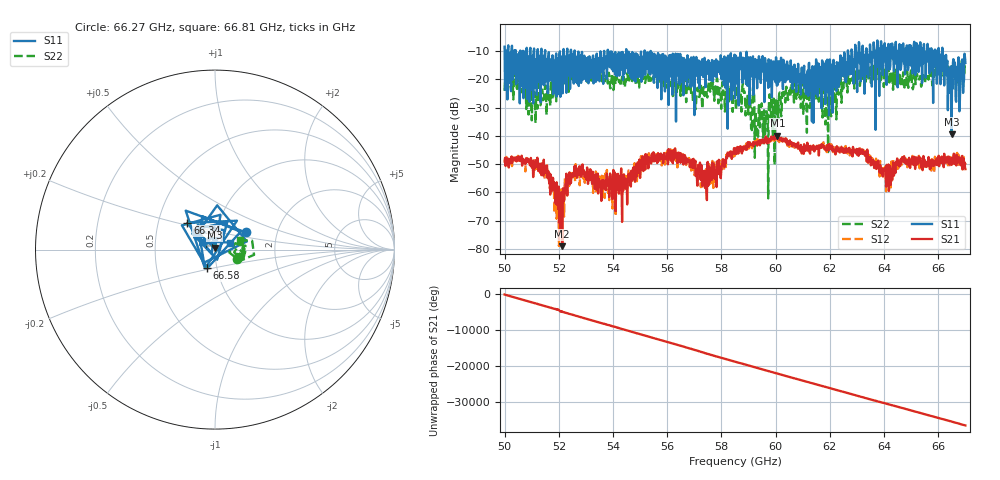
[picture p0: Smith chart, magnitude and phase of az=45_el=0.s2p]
!Created with skrf (http://scikit-rf.org).
# GHz S RI R 50.0
!freq ReS11 ImS11 ReS21 ImS21 ReS12 ImS12 ReS22 ImS22
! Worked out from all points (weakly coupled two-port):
!   1001 points, 50 GHz to 67 GHz, reference 50 ohm
!   highest |S21| = -39.87 dB at 60.06 GHz (marker M1); lowest = -79.1 dB at 52.12 GHz (marker M2)
!   lowest |S11| = -39.4 dB at 66.49 GHz (marker M3), VSWR 1.02, Z = 49.9 + j1.06 ohm
!   |S11| at or under -10 dB: 52.58 GHz to 53.67 GHz (1.087 GHz wide, 2.05 % of centre); 55.39 GHz to 62.66 GHz (7.275 GHz wide, 12.3 % of centre); 66.16 GHz to end of sweep (the widest 3 of 59)
!   |S22| runs from -62.1 to -13.2 dB; largest |S21 - S12| = 0.0022
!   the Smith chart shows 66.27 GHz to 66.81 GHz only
!   S11 on the Smith chart (normalised r, x): 66.27 GHz: 1.39, +0.28; 66.34 GHz: 0.71, +0.22; 66.58 GHz: 0.90, -0.19; 66.81 GHz: 1.17, +0.09
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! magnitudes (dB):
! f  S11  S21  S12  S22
! 50 GHz  -8.4  -49.0  -48.7  -24.1
! 51.53 GHz  -13.7  -52.8  -53.8  -26.0
! 51.92 GHz  -26.1  -56.4  -69.3  -22.2
! 52.12 GHz  -12.6  -79.1  -68.5  -20.5
! 52.84 GHz  -12.5  -52.4  -53.6  -19.5
! 54.4 GHz  -11.9  -53.6  -56.4  -19.5
! 55.68 GHz  -13.6  -48.9  -47.4  -21.7
! 57.38 GHz  -12.4  -52.4  -53.3  -25.9
! 58.5 GHz  -26.7  -45.6  -44.8  -24.3
! 59.11 GHz  -12.9  -42.9  -43.9  -34.9
! 59.32 GHz  -23.1  -43.5  -41.1  -37.6
! 60.06 GHz  -17.0  -39.9  -40.4  -27.7
! 61.34 GHz  -34.9  -44.0  -44.5  -25.6
! 62 GHz  -13.0  -43.5  -42.9  -23.2
! 63.19 GHz  -12.5  -46.2  -45.3  -19.8
! 64.18 GHz  -12.0  -59.5  -57.8  -17.4
! 66.27 GHz  -14.1  -49.4  -47.8  -17.5
! 66.34 GHz  -13.4  -47.4  -48.0  -17.7
! 66.49 GHz  -39.4  -50.3  -48.3  -15.5
! 66.58 GHz  -18.9  -46.3  -47.3  -15.9
! 66.81 GHz  -20.8  -48.3  -48.0  -16.7
! 67 GHz  -14.1  -51.8  -49.6  -14.7
